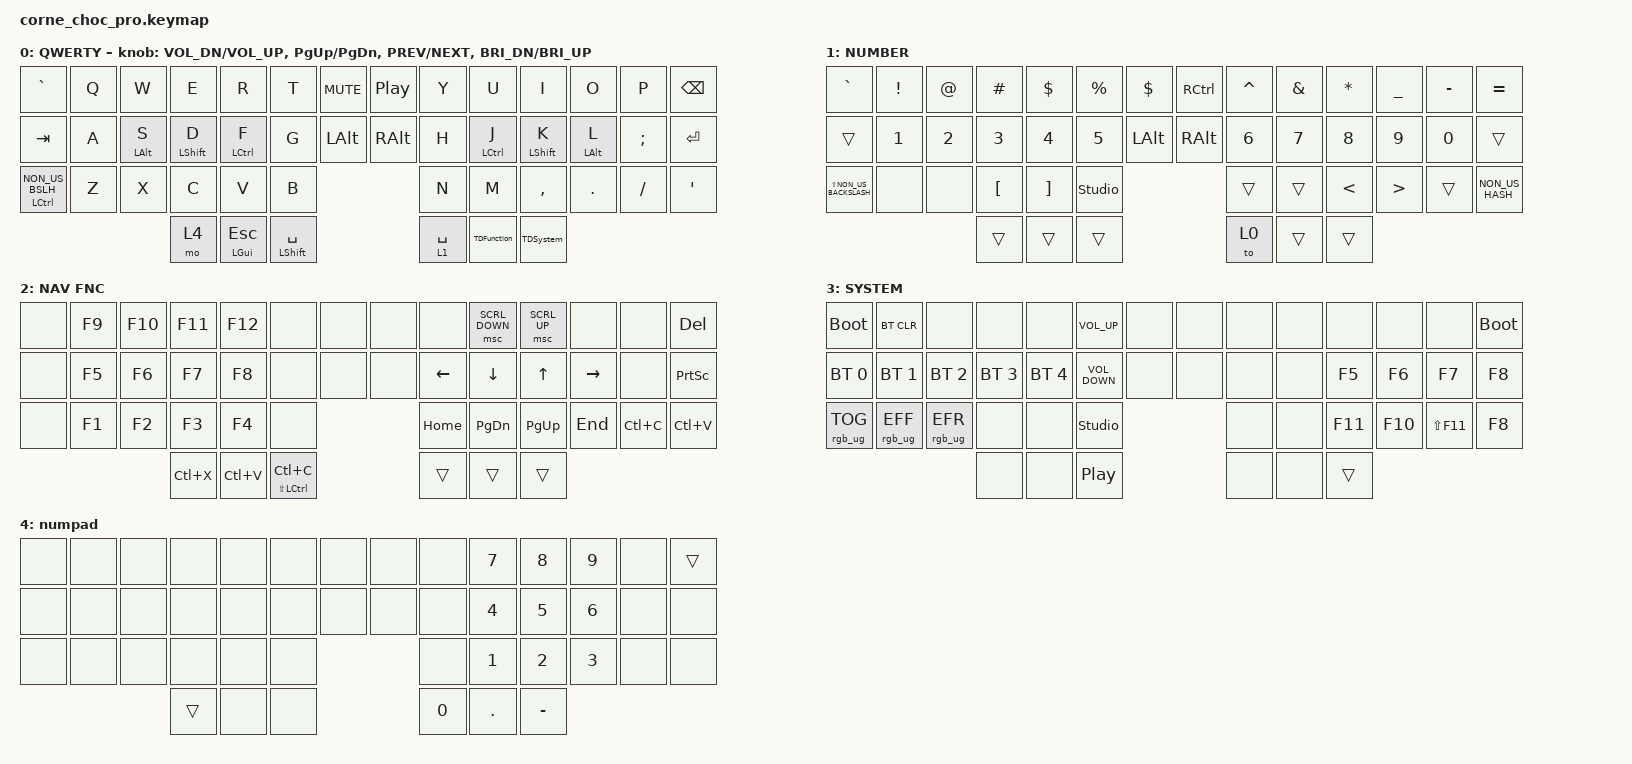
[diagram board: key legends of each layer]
/*
 * Copyright (c) 2020 The ZMK Contributors
 *
 * SPDX-License-Identifier: MIT
 */

#include <behaviors.dtsi>
#include <dt-bindings/zmk/bt.h>
#include <dt-bindings/zmk/keys.h>
#include <dt-bindings/zmk/pointing.h>
#include <dt-bindings/zmk/rgb.h>

&lt {
    tapping-term-ms = <160>;
    quick-tap-ms = <10>;
    flavor = "tap-preferred";
};

&mt {
    tapping-term-ms = <160>;
    flavor = "tap-preferred";
    quick-tap-ms = <10>;
};

/ {
    chosen { zmk,physical-layout = &default_layout; };
};

/ {
    combos {
        compatible = "zmk,combos";

        LBracket {
            bindings = <&kp LEFT_PARENTHESIS>;
            key-positions = <16 17>;
        };

        RightBracket {
            bindings = <&kp RIGHT_PARENTHESIS>;
            key-positions = <17 18>;
        };

        LBrace {
            bindings = <&kp LEFT_BRACE>;
            key-positions = <23 24>;
        };

        RBrace {
            bindings = <&kp RIGHT_BRACE>;
            key-positions = <24 25>;
        };

        Copy {
            bindings = <&kp LC(C)>;
            key-positions = <4 3>;
        };

        Paste {
            bindings = <&kp LC(V)>;
            key-positions = <32 31>;
        };

        CopyShift {
            bindings = <&kp LC(LS(C))>;
            key-positions = <9 10>;
        };

        PasteShift {
            bindings = <&kp LC(LS(V))>;
            key-positions = <35 36>;
        };
    };

    behaviors {
        HTL: HTL {
            compatible = "zmk,behavior-hold-tap";
            label = "HTL";
            bindings = <&kp>, <&kp>;

            #binding-cells = <2>;
            tapping-term-ms = <190>;
            quick-tap-ms = <160>;
            hold-trigger-key-positions = <0 1 2 3 4 5 6 14 15 16 17 18 19 20 28 29 30 31 32 33 40 41 42>;
            flavor = "tap-preferred";
            hold-trigger-on-release;
        };

        HTR: HTR {
            compatible = "zmk,behavior-hold-tap";
            label = "HTR";
            bindings = <&kp>, <&kp>;

            #binding-cells = <2>;
            tapping-term-ms = <190>;
            quick-tap-ms = <160>;
            hold-trigger-key-positions = <7 8 9 11 12 13 21 22 23 24 25 26 27 34 35 36 37 38 39 43 44 45 10>;
            flavor = "tap-preferred";
            hold-trigger-on-release;
        };

        TDNumber: TDNumber {
            compatible = "zmk,behavior-tap-dance";
            label = "TDNUMBER";
            #binding-cells = <0>;
            bindings = <&mo 1>, <&to 1>;
        };

        TDFunction: TDFunction {
            compatible = "zmk,behavior-tap-dance";
            label = "TDFUNCTION";
            #binding-cells = <0>;
            bindings = <&mo 2>, <&to 2>;
        };

        TDSystem: TDSystem {
            compatible = "zmk,behavior-tap-dance";
            label = "TDSYSTEM";
            #binding-cells = <0>;
            bindings = <&mo 3>, <&to 3>;
        };
    };

    keymap {
        compatible = "zmk,keymap";

        default_layer {
            display-name = "QWERTY";

            // --------------------------------------------------------------------------------
            // |  TAB |  Q  |  W  |  E  |  R  |  T  |  MUTE |  PP   |  Y  |  U   |  I  |  O  |  P  | BSPC |
            // | CTRL |  A  |  S  |  D  |  F  |  G  |  LALT |  RALT |  H  |  J   |  K  |  L  |  ;  |  '   |
            // | SHFT |  Z  |  X  |  C  |  V  |  B  |               |  N  |  M   |  ,  |  .  |  /  | ESC  |
            //                    | GUI | LWR | SPC |               | ENT | RSE  | ALT |

            bindings = <
&kp GRAVE                     &kp Q  &kp W            &kp E              &kp R                 &kp T                 &kp C_MUTE  &kp C_PP  &kp Y        &kp U                &kp I              &kp O            &kp P     &kp BSPC
&kp TAB                       &kp A  &HTL LEFT_ALT S  &HTL LEFT_SHIFT D  &HTL LEFT_CONTROL F   &kp G                 &kp LALT    &kp RALT  &kp H        &HTR LEFT_CONTROL J  &HTR LEFT_SHIFT K  &HTR LEFT_ALT L  &kp SEMI  &kp RETURN
&mt LEFT_CONTROL NON_US_BSLH  &kp Z  &kp X            &kp C              &kp V                 &kp B                                       &kp N        &kp M                &kp COMMA          &kp DOT          &kp FSLH  &kp SINGLE_QUOTE
                                                      &mo 4              &HTL LEFT_GUI ESCAPE  &mt LEFT_SHIFT SPACE                        &lt 1 SPACE  &TDFunction          &TDSystem
            >;

            sensor-bindings = <&inc_dec_kp C_VOL_DN C_VOL_UP &inc_dec_kp PG_UP PG_DN &inc_dec_kp C_PREV C_NEXT &inc_dec_kp C_BRI_DN C_BRI_UP>;
        };

        number {
            display-name = "NUMBER";

            // -----------------------------------------------------------------------------------------
            // |  TAB |  1  |  2  |  3  |  4  |  5    |  LCTRL | RCTRL |  6  |  7  |  8  |  9  |  0  | BSPC |
            // | CTRL | BT1 | BT2 | BT3 | BT4 | BT5   |  LALT  | RALT  | LFT | DWN |  UP | RGT |     |      |
            // | SHFT | BTCR| RGB | RST | BOOT| Unlock|        |       |     |     |     |     |     |      |
            //                    | GUI |     | SPC   |        | ENT   |     | ALT |

            bindings = <
&kp GRAVE                 &kp EXCL      &kp AT        &kp HASH          &kp DOLLAR         &kp PERCENT     &kp DOLLAR  &kp RCTRL  &kp CARET     &kp AMPERSAND  &kp STAR       &kp UNDER         &kp MINUS     &kp EQUAL
&trans                    &kp NUMBER_1  &kp NUMBER_2  &kp NUMBER_3      &kp NUMBER_4       &kp NUMBER_5    &kp LALT    &kp RALT   &kp NUMBER_6  &kp NUMBER_7   &kp NUMBER_8   &kp NUMBER_9      &kp NUMBER_0  &trans
&kp LS(NON_US_BACKSLASH)  &none         &none         &kp LEFT_BRACKET  &kp RIGHT_BRACKET  &studio_unlock                         &trans        &trans         &kp LESS_THAN  &kp GREATER_THAN  &trans        &kp NON_US_HASH
                                                      &trans            &trans             &trans                                 &to 0         &trans         &trans
            >;
        };

        navfnc {
            display-name = "NAV FNC";

            // -----------------------------------------------------------------------------------------
            // |  TAB |  !  |  @  |  #  |  $  |  %  | LCTRL | RCTRL |  ^  |  &  |  *  |  (  |  )  | BSPC |
            // | CTRL |     |     |     |     |     |  LALT | RALT  |  -  |  =  |  [  |  ]  |  \  |  `   |
            // | SHFT |     |     |     |     |     |               |  _  |  +  |  {  |  }  | "|" |  ~   |
            //                    | GUI |     | SPC |               | ENT |     | ALT |

            bindings = <
&none  &kp F9  &kp F10  &kp F11    &kp F12    &none                       &none  &none  &none     &msc SCRL_DOWN  &msc SCRL_UP  &none            &none      &kp DEL
&none  &kp F5  &kp F6   &kp F7     &kp F8     &none                       &none  &none  &kp LEFT  &kp DOWN_ARROW  &kp UP_ARROW  &kp RIGHT_ARROW  &none      &kp PRINTSCREEN
&none  &kp F1  &kp F2   &kp F3     &kp F4     &none                                     &kp HOME  &kp PAGE_DOWN   &kp PAGE_UP   &kp END          &kp LC(C)  &kp LC(V)
                        &kp LC(X)  &kp LC(V)  &mt LS(LEFT_CONTROL) LC(C)                &trans    &trans          &trans
            >;
        };

        System {
            display-name = "SYSTEM";
            bindings = <
&bootloader      &bt BT_CLR       &none            &none         &none         &kp C_VOLUME_UP    &none  &none  &none  &none  &none    &none    &none        &bootloader
&bt BT_SEL 0     &bt BT_SEL 1     &bt BT_SEL 2     &bt BT_SEL 3  &bt BT_SEL 4  &kp C_VOLUME_DOWN  &none  &none  &none  &none  &kp F5   &kp F6   &kp F7       &kp F8
&rgb_ug RGB_TOG  &rgb_ug RGB_EFF  &rgb_ug RGB_EFR  &none         &none         &studio_unlock                   &none  &none  &kp F11  &kp F10  &kp LS(F11)  &kp F8
                                                   &none         &none         &kp C_PLAY_PAUSE                 &none  &none  &trans
            >;
        };

        numpad {
            bindings = <
&none  &none  &none  &none   &none  &none  &none  &none  &none         &kp N7   &kp N8     &kp N9  &none  &trans
&none  &none  &none  &none   &none  &none  &none  &none  &none         &kp N4   &kp N5     &kp N6  &none  &none
&none  &none  &none  &none   &none  &none                &none         &kp N1   &kp N2     &kp N3  &none  &none
                     &trans  &none  &none                &kp NUMBER_0  &kp DOT  &kp MINUS
            >;
        };
    };
};
